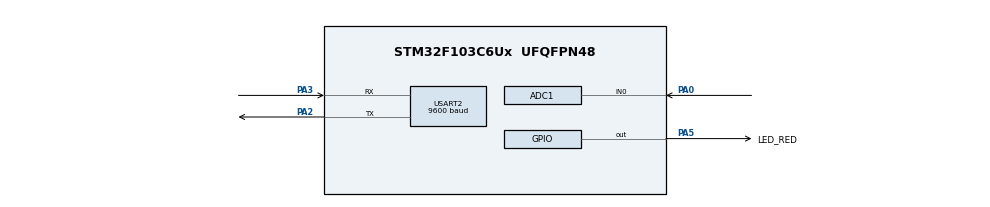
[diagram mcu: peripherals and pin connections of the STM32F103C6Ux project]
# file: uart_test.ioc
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ADC1.Channel-0\#ChannelRegularConversion=ADC_CHANNEL_0
ADC1.ContinuousConvMode=ENABLE
ADC1.NbrOfConversionFlag=1
ADC1.Rank-0\#ChannelRegularConversion=1
ADC1.SamplingTime-0\#ChannelRegularConversion=ADC_SAMPLETIME_1CYCLE_5
ADC1.master=1
Mcu.Family=STM32F1
Mcu.Name=STM32F103C6Ux
Mcu.Package=UFQFPN48
NVIC.PriorityGroup=NVIC_PRIORITYGROUP_4
NVIC.TIM2_IRQn=true\:0\:0\:false\:false\:true\:true\:true\:true
NVIC.USART2_IRQn=true\:0\:0\:false\:false\:true\:true\:true\:true
PA0-WKUP.Signal=ADCx_IN0
PA2.Mode=Asynchronous
PA2.Signal=USART2_TX
PA3.Mode=Asynchronous
PA3.Signal=USART2_RX
PA5.GPIO_Label=LED_RED
PA5.Signal=GPIO_Output
ProjectManager.HeapSize=0x200
ProjectManager.StackSize=0x400
ProjectManager.TargetToolchain=STM32CubeIDE
RCC.APB1Freq_Value=8000000
RCC.APB2Freq_Value=8000000
SH.ADCx_IN0.0=ADC1_IN0,IN0
TIM2.Period=9
TIM2.Prescaler=7999
USART2.BaudRate=9600
USART2.VirtualMode=VM_ASYNC
VP_SYS_VS_ND.Mode=No_Debug
VP_TIM2_VS_ClockSourceINT.Mode=Internal
board=custom

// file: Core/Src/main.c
/* USER CODE BEGIN Header */
/**
  ******************************************************************************
  * @file           : main.c
  * @brief          : Main program body
  ******************************************************************************
  * @attention
  *
  * <h2><center>&copy; Copyright (c) 2022 STMicroelectronics.
  * All rights reserved.</center></h2>
  *
  * This software component is licensed by ST under BSD 3-Clause license,
  * the "License"; You may not use this file except in compliance with the
  * License. You may obtain a copy of the License at:
  *                        opensource.org/licenses/BSD-3-Clause
  *
  ******************************************************************************
  */
/* USER CODE END Header */
#include "main.h"

/* USER CODE BEGIN Includes */
#include "global.h"
#include "command_parser_fsm.h"
#include "uart_communication_fsm.h"
/* USER CODE END Includes */

ADC_HandleTypeDef hadc1;

TIM_HandleTypeDef htim2;

UART_HandleTypeDef huart2;

void SystemClock_Config(void);
static void MX_GPIO_Init(void);
static void MX_ADC1_Init(void);
static void MX_USART2_UART_Init(void);
static void MX_TIM2_Init(void);

/* USER CODE BEGIN 0 */
//uint8_t temp[5] = {0};
//
//void HAL_UART_RxCpltCallback(UART_HandleTypeDef *huart){
//	if(huart->Instance == USART2){
//		HAL_UART_Transmit(&huart2, temp, 5, 50);
//		HAL_UART_Receive_IT(&huart2, temp, 5);
//	}
//}

#define MAX_BUFFER_SIZE  30
uint8_t temp = 0;
uint8_t buffer_flag = 0;
char str[50];
void HAL_UART_RxCpltCallback(UART_HandleTypeDef *huart){
	if(huart->Instance == USART2){
		buffer[index_buffer++] = temp;
		if(index_buffer == 30) index_buffer = 0;
//		HAL_UART_Transmit(&huart2, (void *)str, sprintf(str, "%s\r", buffer), 1000);
		HAL_UART_Transmit(&huart2, &temp, 1, 50);
		buffer_flag = 1;
		HAL_UART_Receive_IT(&huart2, &temp, 1);
	}
}

//void clear_cmdData(){
//  for (int i = 0; i < data_size; i++)
//	  command_data[i] = '\0';
//}
/* USER CODE END 0 */

int main(void)
{

  /* MCU Configuration--------------------------------------------------------*/

  /* Reset of all peripherals, Initializes the Flash interface and the Systick. */
  HAL_Init();

  /* Configure the system clock */
  SystemClock_Config();

  /* Initialize all configured peripherals */
  MX_GPIO_Init();
  MX_ADC1_Init();
  MX_USART2_UART_Init();
  MX_TIM2_Init();
  /* USER CODE BEGIN 2 */
  HAL_TIM_Base_Start_IT(&htim2);
  HAL_UART_Receive_IT(&huart2, &temp, 1);
  /* USER CODE END 2 */

  /* Infinite loop */
  /* USER CODE BEGIN WHILE */
//  char str[50];
//  uint32_t ADC_value = 0;
  status = INIT;
  while (1)
  {
//	  HAL_GPIO_TogglePin(LED_RED_GPIO_Port, LED_RED_Pin);
//	  HAL_ADC_Start(&hadc1);
//	  HAL_ADC_PollForConversion(&hadc1, 4000);
//	  ADC_value = HAL_ADC_GetValue(&hadc1);
//	  HAL_ADC_Stop(&hadc1);
//	  HAL_UART_Transmit(&huart2, (void *)str, sprintf(str, "%d\r", ADC_value), 1000);
//	  HAL_Delay(500);
	  if (buffer_flag == 1){
		  command_parser_fsm_run();
		  buffer_flag = 0;
	  }
	  uart_communication_fsm_run();
    /* USER CODE END WHILE */

  }
}

void SystemClock_Config(void)
{
  RCC_OscInitTypeDef RCC_OscInitStruct = {0};
  RCC_ClkInitTypeDef RCC_ClkInitStruct = {0};
  RCC_PeriphCLKInitTypeDef PeriphClkInit = {0};

  /** Initializes the RCC Oscillators according to the specified parameters
  * in the RCC_OscInitTypeDef structure.
  */
  RCC_OscInitStruct.OscillatorType = RCC_OSCILLATORTYPE_HSI;
  RCC_OscInitStruct.HSIState = RCC_HSI_ON;
  RCC_OscInitStruct.HSICalibrationValue = RCC_HSICALIBRATION_DEFAULT;
  RCC_OscInitStruct.PLL.PLLState = RCC_PLL_NONE;
  if (HAL_RCC_OscConfig(&RCC_OscInitStruct) != HAL_OK)
  {
    Error_Handler();
  }

  /** Initializes the CPU, AHB and APB buses clocks
  */
  RCC_ClkInitStruct.ClockType = RCC_CLOCKTYPE_HCLK|RCC_CLOCKTYPE_SYSCLK
                              |RCC_CLOCKTYPE_PCLK1|RCC_CLOCKTYPE_PCLK2;
  RCC_ClkInitStruct.SYSCLKSource = RCC_SYSCLKSOURCE_HSI;
  RCC_ClkInitStruct.AHBCLKDivider = RCC_SYSCLK_DIV1;
  RCC_ClkInitStruct.APB1CLKDivider = RCC_HCLK_DIV1;
  RCC_ClkInitStruct.APB2CLKDivider = RCC_HCLK_DIV1;

  if (HAL_RCC_ClockConfig(&RCC_ClkInitStruct, FLASH_LATENCY_0) != HAL_OK)
  {
    Error_Handler();
  }
  PeriphClkInit.PeriphClockSelection = RCC_PERIPHCLK_ADC;
  PeriphClkInit.AdcClockSelection = RCC_ADCPCLK2_DIV2;
  if (HAL_RCCEx_PeriphCLKConfig(&PeriphClkInit) != HAL_OK)
  {
    Error_Handler();
  }
}

static void MX_ADC1_Init(void)
{

  ADC_ChannelConfTypeDef sConfig = {0};

  /** Common config
  */
  hadc1.Instance = ADC1;
  hadc1.Init.ScanConvMode = ADC_SCAN_DISABLE;
  hadc1.Init.ContinuousConvMode = ENABLE;
  hadc1.Init.DiscontinuousConvMode = DISABLE;
  hadc1.Init.ExternalTrigConv = ADC_SOFTWARE_START;
  hadc1.Init.DataAlign = ADC_DATAALIGN_RIGHT;
  hadc1.Init.NbrOfConversion = 1;
  if (HAL_ADC_Init(&hadc1) != HAL_OK)
  {
    Error_Handler();
  }

  /** Configure Regular Channel
  */
  sConfig.Channel = ADC_CHANNEL_0;
  sConfig.Rank = ADC_REGULAR_RANK_1;
  sConfig.SamplingTime = ADC_SAMPLETIME_1CYCLE_5;
  if (HAL_ADC_ConfigChannel(&hadc1, &sConfig) != HAL_OK)
  {
    Error_Handler();
  }

}

static void MX_TIM2_Init(void)
{

  TIM_ClockConfigTypeDef sClockSourceConfig = {0};
  TIM_MasterConfigTypeDef sMasterConfig = {0};

  htim2.Instance = TIM2;
  htim2.Init.Prescaler = 7999;
  htim2.Init.CounterMode = TIM_COUNTERMODE_UP;
  htim2.Init.Period = 9;
  htim2.Init.ClockDivision = TIM_CLOCKDIVISION_DIV1;
  htim2.Init.AutoReloadPreload = TIM_AUTORELOAD_PRELOAD_DISABLE;
  if (HAL_TIM_Base_Init(&htim2) != HAL_OK)
  {
    Error_Handler();
  }
  sClockSourceConfig.ClockSource = TIM_CLOCKSOURCE_INTERNAL;
  if (HAL_TIM_ConfigClockSource(&htim2, &sClockSourceConfig) != HAL_OK)
  {
    Error_Handler();
  }
  sMasterConfig.MasterOutputTrigger = TIM_TRGO_RESET;
  sMasterConfig.MasterSlaveMode = TIM_MASTERSLAVEMODE_DISABLE;
  if (HAL_TIMEx_MasterConfigSynchronization(&htim2, &sMasterConfig) != HAL_OK)
  {
    Error_Handler();
  }

}

static void MX_USART2_UART_Init(void)
{

  huart2.Instance = USART2;
  huart2.Init.BaudRate = 9600;
  huart2.Init.WordLength = UART_WORDLENGTH_8B;
  huart2.Init.StopBits = UART_STOPBITS_1;
  huart2.Init.Parity = UART_PARITY_NONE;
  huart2.Init.Mode = UART_MODE_TX_RX;
  huart2.Init.HwFlowCtl = UART_HWCONTROL_NONE;
  huart2.Init.OverSampling = UART_OVERSAMPLING_16;
  if (HAL_UART_Init(&huart2) != HAL_OK)
  {
    Error_Handler();
  }

}

static void MX_GPIO_Init(void)
{
  GPIO_InitTypeDef GPIO_InitStruct = {0};

  /* GPIO Ports Clock Enable */
  __HAL_RCC_GPIOA_CLK_ENABLE();

  /*Configure GPIO pin Output Level */
  HAL_GPIO_WritePin(LED_RED_GPIO_Port, LED_RED_Pin, GPIO_PIN_RESET);

  /*Configure GPIO pin : LED_RED_Pin */
  GPIO_InitStruct.Pin = LED_RED_Pin;
  GPIO_InitStruct.Mode = GPIO_MODE_OUTPUT_PP;
  GPIO_InitStruct.Pull = GPIO_NOPULL;
  GPIO_InitStruct.Speed = GPIO_SPEED_FREQ_LOW;
  HAL_GPIO_Init(LED_RED_GPIO_Port, &GPIO_InitStruct);

}

/* USER CODE BEGIN 4 */
void HAL_TIM_PeriodElapsedCallback(TIM_HandleTypeDef *htim){
	timerRun();
}
/* USER CODE END 4 */

void Error_Handler(void)
{
  __disable_irq();
  while (1)
  {
  }
}
